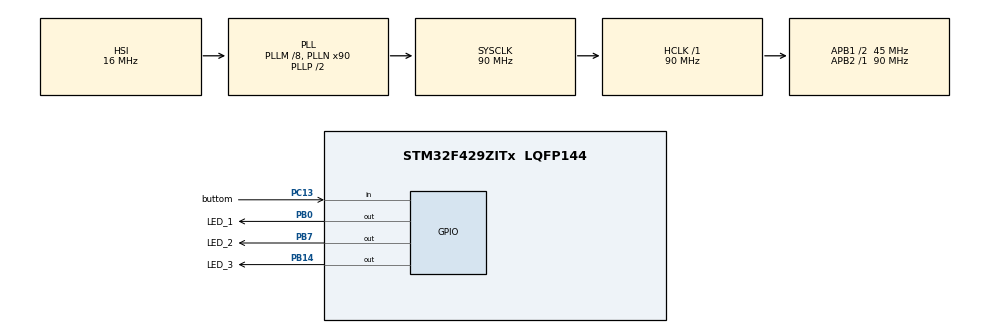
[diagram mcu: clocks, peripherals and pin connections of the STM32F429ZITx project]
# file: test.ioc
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Mcu.Family=STM32F4
Mcu.Name=STM32F429ZITx
Mcu.Package=LQFP144
NVIC.PriorityGroup=NVIC_PRIORITYGROUP_4
PA13.Mode=Serial_Wire
PA13.Signal=SYS_JTMS-SWDIO
PA14.Mode=Serial_Wire
PA14.Signal=SYS_JTCK-SWCLK
PB0.GPIO_Label=LED_1
PB0.PinState=GPIO_PIN_RESET
PB0.Signal=GPIO_Output
PB14.GPIO_Label=LED_3
PB14.Signal=GPIO_Output
PB7.GPIO_Label=LED_2
PB7.Signal=GPIO_Output
PC13.GPIO_Label=buttom
PC13.GPIO_Mode=GPIO_MODE_INPUT
PC13.Signal=GPIO_Input
PC14/OSC32_IN.Mode=LSE-External-Oscillator
PC14/OSC32_IN.Signal=RCC_OSC32_IN
PC15/OSC32_OUT.Mode=LSE-External-Oscillator
PC15/OSC32_OUT.Signal=RCC_OSC32_OUT
PH0/OSC_IN.Mode=HSE-External-Oscillator
PH0/OSC_IN.Signal=RCC_OSC_IN
PH1/OSC_OUT.Mode=HSE-External-Oscillator
PH1/OSC_OUT.Signal=RCC_OSC_OUT
ProjectManager.HeapSize=0x200
ProjectManager.StackSize=0x400
ProjectManager.TargetToolchain=STM32CubeIDE
RCC.48MHZClocksFreq_Value=45000000
RCC.AHBFreq_Value=90000000
RCC.APB1CLKDivider=RCC_HCLK_DIV2
RCC.APB1Freq_Value=45000000
RCC.APB1TimFreq_Value=90000000
RCC.APB2Freq_Value=90000000
RCC.APB2TimFreq_Value=90000000
RCC.CortexFreq_Value=90000000
RCC.HCLKFreq_Value=90000000
RCC.HSE_VALUE=25000000
RCC.HSI_VALUE=16000000
RCC.PLLM=8
RCC.PLLN=90
RCC.SYSCLKFreq_VALUE=90000000
RCC.SYSCLKSource=RCC_SYSCLKSOURCE_PLLCLK
RCC.VCOOutputFreq_Value=180000000
board=custom

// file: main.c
/* USER CODE BEGIN Header */
/**
  ******************************************************************************
  * @file           : main.c
  * @brief          : Main program body
  ******************************************************************************
  * @attention
  *
  * Copyright (c) 2024 STMicroelectronics.
  * All rights reserved.
  *
  * This software is licensed under terms that can be found in the LICENSE file
  * in the root directory of this software component.
  * If no LICENSE file comes with this software, it is provided AS-IS.
  *
  ******************************************************************************
  */
/* USER CODE END Header */
#include "main.h"

/* USER CODE BEGIN Includes */
#include <stdio.h>
/* USER CODE END Includes */

void SystemClock_Config(void);
static void MX_GPIO_Init(void);

int main(void)
{

  /* USER CODE BEGIN 1 */
  uint8_t Status = 0;
  uint8_t count = 0;
  /* USER CODE END 1 */

  /* MCU Configuration--------------------------------------------------------*/

  /* Reset of all peripherals, Initializes the Flash interface and the Systick. */
  HAL_Init();

  /* Configure the system clock */
  SystemClock_Config();

  /* Initialize all configured peripherals */
  MX_GPIO_Init();

  /* Infinite loop */
  /* USER CODE BEGIN WHILE */
  while (1)
  {
    Status = HAL_GPIO_ReadPin(buttom_GPIO_Port, buttom_Pin);
    if (Status == 0) {
        HAL_GPIO_WritePin(GPIOB, LED_2_Pin, GPIO_PIN_RESET);
        HAL_GPIO_WritePin(GPIOB, LED_3_Pin, GPIO_PIN_RESET);
        HAL_GPIO_WritePin(GPIOB, LED_1_Pin, GPIO_PIN_SET);
    } else {
        HAL_GPIO_WritePin(GPIOB, LED_1_Pin, GPIO_PIN_RESET);
        HAL_GPIO_WritePin(GPIOB, LED_3_Pin, GPIO_PIN_RESET);
        HAL_GPIO_WritePin(GPIOB, LED_2_Pin, GPIO_PIN_SET);
        HAL_Delay(100);

        HAL_GPIO_WritePin(GPIOB, LED_1_Pin, GPIO_PIN_RESET);
        HAL_GPIO_WritePin(GPIOB, LED_2_Pin, GPIO_PIN_RESET);
        HAL_GPIO_WritePin(GPIOB, LED_3_Pin, GPIO_PIN_SET);
        HAL_Delay(100);
	  }
    /* USER CODE END WHILE */

  }
}

void SystemClock_Config(void)
{
  RCC_OscInitTypeDef RCC_OscInitStruct = {0};
  RCC_ClkInitTypeDef RCC_ClkInitStruct = {0};

  /** Configure the main internal regulator output voltage
  */
  __HAL_RCC_PWR_CLK_ENABLE();
  __HAL_PWR_VOLTAGESCALING_CONFIG(PWR_REGULATOR_VOLTAGE_SCALE3);

  /** Initializes the RCC Oscillators according to the specified parameters
  * in the RCC_OscInitTypeDef structure.
  */
  RCC_OscInitStruct.OscillatorType = RCC_OSCILLATORTYPE_HSI;
  RCC_OscInitStruct.HSIState = RCC_HSI_ON;
  RCC_OscInitStruct.HSICalibrationValue = RCC_HSICALIBRATION_DEFAULT;
  RCC_OscInitStruct.PLL.PLLState = RCC_PLL_ON;
  RCC_OscInitStruct.PLL.PLLSource = RCC_PLLSOURCE_HSI;
  RCC_OscInitStruct.PLL.PLLM = 8;
  RCC_OscInitStruct.PLL.PLLN = 90;
  RCC_OscInitStruct.PLL.PLLP = RCC_PLLP_DIV2;
  RCC_OscInitStruct.PLL.PLLQ = 4;
  if (HAL_RCC_OscConfig(&RCC_OscInitStruct) != HAL_OK)
  {
    Error_Handler();
  }

  /** Activate the Over-Drive mode
  */
  if (HAL_PWREx_EnableOverDrive() != HAL_OK)
  {
    Error_Handler();
  }

  /** Initializes the CPU, AHB and APB buses clocks
  */
  RCC_ClkInitStruct.ClockType = RCC_CLOCKTYPE_HCLK|RCC_CLOCKTYPE_SYSCLK
                              |RCC_CLOCKTYPE_PCLK1|RCC_CLOCKTYPE_PCLK2;
  RCC_ClkInitStruct.SYSCLKSource = RCC_SYSCLKSOURCE_PLLCLK;
  RCC_ClkInitStruct.AHBCLKDivider = RCC_SYSCLK_DIV1;
  RCC_ClkInitStruct.APB1CLKDivider = RCC_HCLK_DIV2;
  RCC_ClkInitStruct.APB2CLKDivider = RCC_HCLK_DIV1;

  if (HAL_RCC_ClockConfig(&RCC_ClkInitStruct, FLASH_LATENCY_2) != HAL_OK)
  {
    Error_Handler();
  }
}

static void MX_GPIO_Init(void)
{
  GPIO_InitTypeDef GPIO_InitStruct = {0};

  /* GPIO Ports Clock Enable */
  __HAL_RCC_GPIOC_CLK_ENABLE();
  __HAL_RCC_GPIOH_CLK_ENABLE();
  __HAL_RCC_GPIOB_CLK_ENABLE();
  __HAL_RCC_GPIOA_CLK_ENABLE();

  /*Configure GPIO pin Output Level */
  HAL_GPIO_WritePin(GPIOB, LED_1_Pin|LED_3_Pin|LED_2_Pin, GPIO_PIN_RESET);

  /*Configure GPIO pin : buttom_Pin */
  GPIO_InitStruct.Pin = buttom_Pin;
  GPIO_InitStruct.Mode = GPIO_MODE_INPUT;
  GPIO_InitStruct.Pull = GPIO_NOPULL;
  HAL_GPIO_Init(buttom_GPIO_Port, &GPIO_InitStruct);

  /*Configure GPIO pins : LED_1_Pin LED_3_Pin LED_2_Pin */
  GPIO_InitStruct.Pin = LED_1_Pin|LED_3_Pin|LED_2_Pin;
  GPIO_InitStruct.Mode = GPIO_MODE_OUTPUT_PP;
  GPIO_InitStruct.Pull = GPIO_NOPULL;
  GPIO_InitStruct.Speed = GPIO_SPEED_FREQ_LOW;
  HAL_GPIO_Init(GPIOB, &GPIO_InitStruct);

}

void Error_Handler(void)
{
  __disable_irq();
  while (1)
  {
  }
}
